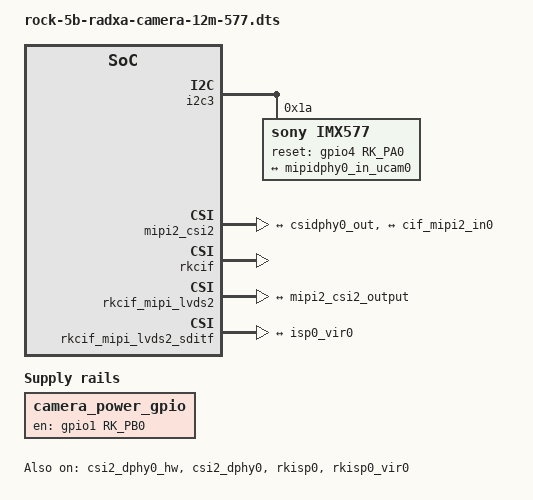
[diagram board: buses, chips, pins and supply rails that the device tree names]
/dts-v1/;
/plugin/;

#include <dt-bindings/clock/rk3588-cru.h>
#include <dt-bindings/power/rk3588-power.h>
#include <dt-bindings/gpio/gpio.h>
#include <dt-bindings/pinctrl/rockchip.h>

/ {
	metadata {
		title = "Enable Radxa Camera 12M 577";
		compatible = "radxa,rock-5b";
		category = "camera";
		exclusive = "GPIO1_B0","GPIO4_A0","csi2_dphy0","i2c3";
		description = "Enable Radxa Camera 12M 577.";
	};
};

&{/} {
	camera_power_gpio: camera-power-gpio {
		compatible = "regulator-fixed";
		regulator-name = "camera_power_gpio";
		regulator-always-on;
		enable-active-high;
		gpio = <&gpio1 RK_PB0 GPIO_ACTIVE_HIGH>;
		pinctrl-names = "default";
		pinctrl-0 = <&cam_power_gpio>;
	};
};

&i2c3 {
	status = "okay";
	#address-cells = <1>;
	#size-cells = <0>;

	imx577: imx577@1a {
		status = "okay";
		compatible = "sony,imx577";
		reg = <0x1a>;
		clocks = <&cru CLK_MIPI_CAMARAOUT_M3>;
		clock-names = "xvclk";
		pinctrl-names = "default";
		pinctrl-0 = <&mipim0_camera3_clk>;
		power-domains = <&power RK3588_PD_VI>;
		reset-gpios = <&gpio4 RK_PA0 GPIO_ACTIVE_HIGH>;
		rockchip,camera-module-index = <0>;
		rockchip,camera-module-facing = "back";
		rockchip,camera-module-name = "RADXA-CAMERA-12M";
		rockchip,camera-module-lens-name = "default";
		port {
			imx577_out0: endpoint {
				remote-endpoint = <&mipidphy0_in_ucam0>;
				data-lanes = <1 2 3 4>;
			};
		};
	};
};

&csi2_dphy0_hw {
	status = "okay";
};

&csi2_dphy0 {
	status = "okay";

	ports {
		#address-cells = <1>;
		#size-cells = <0>;

		port@0 {
			reg = <0>;
			#address-cells = <1>;
			#size-cells = <0>;

			mipidphy0_in_ucam0: endpoint@1 {
				reg = <1>;
				remote-endpoint = <&imx577_out0>;
				data-lanes = <1 2 3 4>;
			};
		};

		port@1 {
			reg = <1>;
			#address-cells = <1>;
			#size-cells = <0>;

			csidphy0_out: endpoint@0 {
				reg = <0>;
				remote-endpoint = <&mipi2_csi2_input>;
			};
		};
	};
};

&mipi2_csi2 {
	status = "okay";

	ports {
		#address-cells = <1>;
		#size-cells = <0>;

		port@0 {
			reg = <0>;
			#address-cells = <1>;
			#size-cells = <0>;

			mipi2_csi2_input: endpoint@1 {
				reg = <1>;
				remote-endpoint = <&csidphy0_out>;
			};
		};

		port@1 {
			reg = <1>;
			#address-cells = <1>;
			#size-cells = <0>;

			mipi2_csi2_output: endpoint@0 {
				reg = <0>;
				remote-endpoint = <&cif_mipi2_in0>;
			};
		};
	};
};

&rkcif {
	status = "okay";
};

&rkcif_mipi_lvds2 {
	status = "okay";

	port {
		cif_mipi2_in0: endpoint {
			remote-endpoint = <&mipi2_csi2_output>;
		};
	};
};

&rkcif_mipi_lvds2_sditf {
	status = "okay";

	port {
		mipi_lvds2_sditf: endpoint {
			remote-endpoint = <&isp0_vir0>;
		};
	};
};

&rkcif_mmu {
	status = "okay";
};

&isp0_mmu {
	status = "okay";
};

&rkisp0 {
	status = "okay";
};

&rkisp0_vir0 {
	status = "okay";

	port {
		#address-cells = <1>;
		#size-cells = <0>;

		isp0_vir0: endpoint@0 {
			reg = <0>;
			remote-endpoint = <&mipi_lvds2_sditf>;
		};
	};
};

&pinctrl {
	camera {
		cam_power_gpio: cam-power-gpio {
			rockchip,pins = <1 RK_PB0 RK_FUNC_GPIO &pcfg_pull_up>;
		};
	};
};
